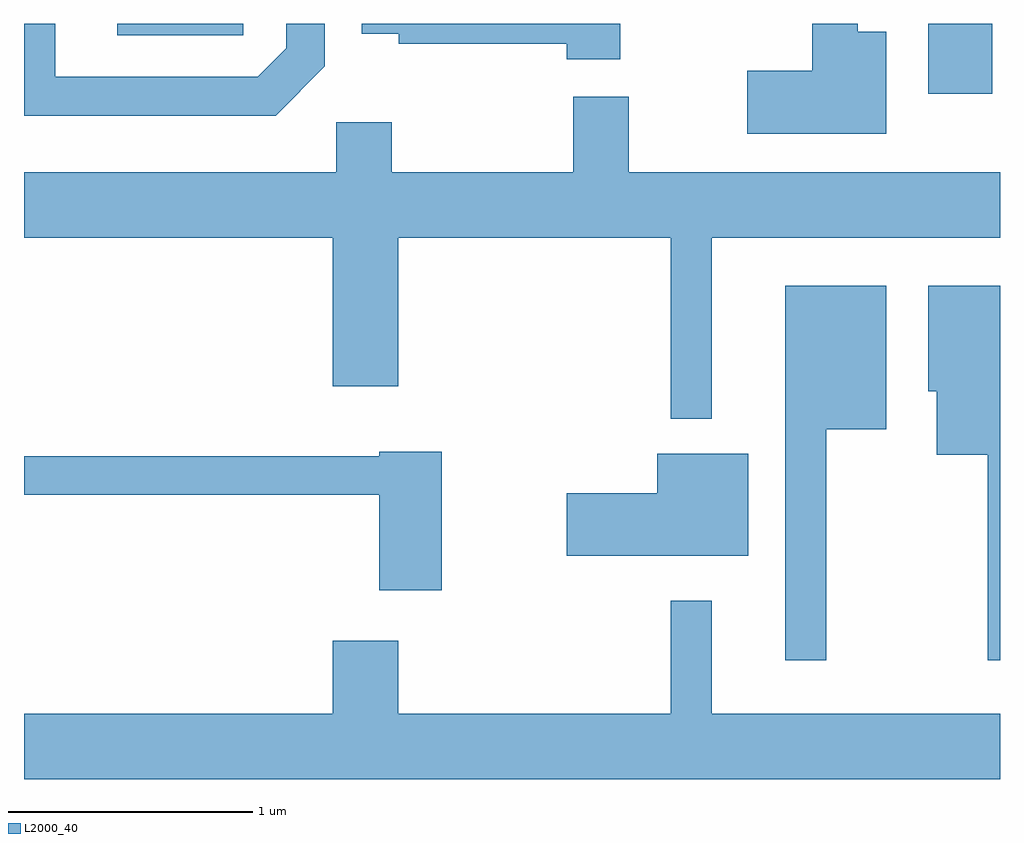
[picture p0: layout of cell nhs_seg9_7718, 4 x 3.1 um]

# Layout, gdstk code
import gdstk
lib = gdstk.Library(unit=1e-6, precision=1e-09)
def R(c, l, rs):  # rectangles x0, y0, x1, y1
    for r in rs: c.add(gdstk.rectangle(r[:2], r[2:], *l))
def P(c, l, *ps):  # polygons
    for p in ps: c.add(gdstk.Polygon(p, *l))
L2000_40 = (2000, 40)

nhs_seg9_7718 = lib.new_cell('nhs_seg9_7718')
R(nhs_seg9_7718, L2000_40, [(417.316,2030.146,417.579,2030.432), (413.993,2030.386,414.509,2030.432)])
P(nhs_seg9_7718, L2000_40, [(414.844,2030.259),(414.844,2030.432),(414.686,2030.432),(414.686,2030.332),(414.569,2030.214),(413.739,2030.214),(413.739,2030.432),(413.611,2030.432),(413.611,2030.056),(414.642,2030.056)],
  [(416.054,2030.432),(414.996,2030.432),(414.996,2030.391),(415.146,2030.391),(415.146,2030.351),(415.836,2030.351),(415.836,2030.286),(416.054,2030.286)],
  [(417.144,2030.399),(417.029,2030.399),(417.029,2030.432),(416.841,2030.432),(416.841,2030.239),(416.576,2030.239),(416.576,2029.981),(417.144,2029.981)],
  [(416.429,2029.556),(417.611,2029.556),(417.611,2029.824),(416.089,2029.824),(416.089,2030.134),(415.861,2030.134),(415.861,2029.824),(415.119,2029.824),(415.119,2030.029),(414.891,2030.029),(414.891,2029.824),(413.611,2029.824),(413.611,2029.556),(414.876,2029.556),(414.876,2028.946),(415.144,2028.946),(415.144,2029.556),(416.261,2029.556),(416.261,2028.813),(416.429,2028.813)],
  [(417.611,2029.359),(417.316,2029.359),(417.316,2028.926),(417.351,2028.926),(417.351,2028.666),(417.561,2028.666),(417.561,2027.823),(417.611,2027.823)],
  [(416.899,2028.771),(417.144,2028.771),(417.144,2029.359),(416.731,2029.359),(416.731,2027.823),(416.899,2027.823)],
  [(415.324,2028.679),(415.066,2028.679),(415.066,2028.659),(413.611,2028.659),(413.611,2028.501),(415.066,2028.501),(415.066,2028.111),(415.324,2028.111)],
  [(416.579,2028.669),(416.206,2028.669),(416.206,2028.509),(415.836,2028.509),(415.836,2028.251),(416.579,2028.251)],
  [(417.611,2027.604),(416.429,2027.604),(416.429,2028.068),(416.261,2028.068),(416.261,2027.604),(415.144,2027.604),(415.144,2027.904),(414.876,2027.904),(414.876,2027.604),(413.611,2027.604),(413.611,2027.336),(417.611,2027.336)])

lib.write_gds('nhs_seg9_7718.gds')
